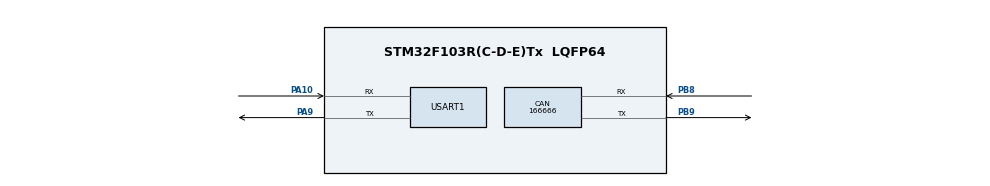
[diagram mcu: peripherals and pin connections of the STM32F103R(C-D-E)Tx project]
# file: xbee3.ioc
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CAN.CalculateBaudRate=166666
CAN.CalculateTimeBit=6000.00
CAN.CalculateTimeQuantum=2000.0
Mcu.Family=STM32F1
Mcu.Name=STM32F103R(C-D-E)Tx
Mcu.Package=LQFP64
NVIC.CAN1_RX1_IRQn=true\:0\:0\:false\:false\:true\:true\:true
NVIC.PriorityGroup=NVIC_PRIORITYGROUP_4
PA10.Mode=Asynchronous
PA10.Signal=USART1_RX
PA9.Mode=Asynchronous
PA9.Signal=USART1_TX
PB8.Mode=CAN_Activate
PB8.Signal=CAN_RX
PB9.Mode=CAN_Activate
PB9.Signal=CAN_TX
ProjectManager.HeapSize=0x200
ProjectManager.StackSize=0x400
ProjectManager.TargetToolchain=STM32CubeIDE
RCC.APB1Freq_Value=8000000
RCC.APB2Freq_Value=8000000
USART1.VirtualMode=VM_ASYNC
VP_SYS_VS_ND.Mode=No_Debug
board=custom

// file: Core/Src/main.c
/* USER CODE BEGIN Header */
/**
  ******************************************************************************
  * @file           : main.c
  * @brief          : Main program body
  ******************************************************************************
  * @attention
  *
  * <h2><center>&copy; Copyright (c) 2021 STMicroelectronics.
  * All rights reserved.</center></h2>
  *
  * This software component is licensed by ST under BSD 3-Clause license,
  * the "License"; You may not use this file except in compliance with the
  * License. You may obtain a copy of the License at:
  *                        opensource.org/licenses/BSD-3-Clause
  *
  ******************************************************************************
  */
/* USER CODE END Header */
#include "main.h"

/* USER CODE BEGIN Includes */
#include <can.h>
/* USER CODE END Includes */

CAN_HandleTypeDef hcan;

UART_HandleTypeDef huart1;

/* USER CODE BEGIN PV */
/*
 *
 *
 *
 *
 * Naming convention from Ryan Lee, LVS: https://github.com/ryantheEng/GPS_firmware/blob/main/GPS_Firmware/Core/Src/main.c
 *
 */
CAN_RxHeaderTypeDef rxheader; // CAN msg receiver header
HAL_StatusTypeDef status;

uint8_t CAN_buffer; // CAN buffer
uint8_t UART_buffer; // UART buffer
uint8_t message[8];
CAN_t CAN;

CAN.msgpointer = NULL;

/* USER CODE END PV */

void SystemClock_Config(void);
static void MX_GPIO_Init(void);
static void MX_CAN_Init(void);
static void MX_USART1_UART_Init(void);

int main(void)
{

  /* MCU Configuration--------------------------------------------------------*/

  /* Reset of all peripherals, Initializes the Flash interface and the Systick. */
  HAL_Init();

  /* Configure the system clock */
  SystemClock_Config();

  /* Initialize all configured peripherals */
  MX_GPIO_Init();
  MX_CAN_Init();
  MX_USART1_UART_Init();
  /* USER CODE BEGIN 2 */
  /*
   *
   *
   *
   * NOTES:
   *  - check parameters, activeITs, priorities in setPriority
   */
  HAL_CAN_ActivateNotification(&hcan, ActiveITs);
  HAL_NVIC_SetPriority(CAN1_RX1_IRQn, 0, 0);
  HAL_NVIC_EnableIRQ(CAN1_RX1_IRQn);

  /* USER CODE END 2 */

  /* Infinite loop */
  /* USER CODE BEGIN WHILE */
  while (1)
  { // WAIT FOR THE MESSAGE
	  if (HAL_CAN_GetRxFifoFillLevel(hcan, CAN_R_FIFO0) > 0)
	  {
		status = HAL_CAN_GetRxMessage(hcan, CAN_RX_FIFO0, rxheader, message); // get message and update status
	  }
	  if (status != HAL_OK) // check for error
	  {
		  printf("ERROR RECEIVING MESSAGE");
	  }
	  else // store pointer to message
	  {
		  CAN.msgpointer = &message;
      }

    /* USER CODE END WHILE */

  }
}

void SystemClock_Config(void)
{
  RCC_OscInitTypeDef RCC_OscInitStruct = {0};
  RCC_ClkInitTypeDef RCC_ClkInitStruct = {0};

  /** Initializes the RCC Oscillators according to the specified parameters
  * in the RCC_OscInitTypeDef structure.
  */
  RCC_OscInitStruct.OscillatorType = RCC_OSCILLATORTYPE_HSI;
  RCC_OscInitStruct.HSIState = RCC_HSI_ON;
  RCC_OscInitStruct.HSICalibrationValue = RCC_HSICALIBRATION_DEFAULT;
  RCC_OscInitStruct.PLL.PLLState = RCC_PLL_NONE;
  if (HAL_RCC_OscConfig(&RCC_OscInitStruct) != HAL_OK)
  {
    Error_Handler();
  }
  /** Initializes the CPU, AHB and APB buses clocks
  */
  RCC_ClkInitStruct.ClockType = RCC_CLOCKTYPE_HCLK|RCC_CLOCKTYPE_SYSCLK
                              |RCC_CLOCKTYPE_PCLK1|RCC_CLOCKTYPE_PCLK2;
  RCC_ClkInitStruct.SYSCLKSource = RCC_SYSCLKSOURCE_HSI;
  RCC_ClkInitStruct.AHBCLKDivider = RCC_SYSCLK_DIV1;
  RCC_ClkInitStruct.APB1CLKDivider = RCC_HCLK_DIV1;
  RCC_ClkInitStruct.APB2CLKDivider = RCC_HCLK_DIV1;

  if (HAL_RCC_ClockConfig(&RCC_ClkInitStruct, FLASH_LATENCY_0) != HAL_OK)
  {
    Error_Handler();
  }
}

static void MX_CAN_Init(void)
{

  hcan.Instance = CAN1;
  hcan.Init.Prescaler = 16;
  hcan.Init.Mode = CAN_MODE_NORMAL;
  hcan.Init.SyncJumpWidth = CAN_SJW_1TQ;
  hcan.Init.TimeSeg1 = CAN_BS1_1TQ;
  hcan.Init.TimeSeg2 = CAN_BS2_1TQ;
  hcan.Init.TimeTriggeredMode = DISABLE;
  hcan.Init.AutoBusOff = DISABLE;
  hcan.Init.AutoWakeUp = DISABLE;
  hcan.Init.AutoRetransmission = DISABLE;
  hcan.Init.ReceiveFifoLocked = DISABLE;
  hcan.Init.TransmitFifoPriority = DISABLE;
  if (HAL_CAN_Init(&hcan) != HAL_OK)
  {
    Error_Handler();
  }

}

static void MX_USART1_UART_Init(void)
{

  huart1.Instance = USART1;
  huart1.Init.BaudRate = 115200;
  huart1.Init.WordLength = UART_WORDLENGTH_8B;
  huart1.Init.StopBits = UART_STOPBITS_1;
  huart1.Init.Parity = UART_PARITY_NONE;
  huart1.Init.Mode = UART_MODE_TX_RX;
  huart1.Init.HwFlowCtl = UART_HWCONTROL_NONE;
  huart1.Init.OverSampling = UART_OVERSAMPLING_16;
  if (HAL_UART_Init(&huart1) != HAL_OK)
  {
    Error_Handler();
  }

}

static void MX_GPIO_Init(void)
{

  /* GPIO Ports Clock Enable */
  __HAL_RCC_GPIOA_CLK_ENABLE();
  __HAL_RCC_GPIOB_CLK_ENABLE();

}

void Error_Handler(void)
{
  __disable_irq();
  while (1)
  {
  }
}

/************************ (C) COPYRIGHT STMicroelectronics *****END OF FILE****/
